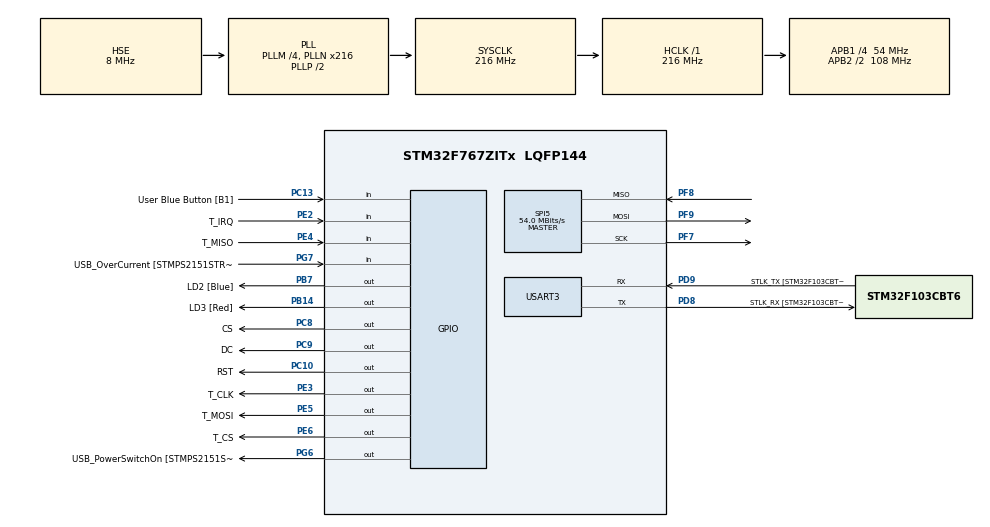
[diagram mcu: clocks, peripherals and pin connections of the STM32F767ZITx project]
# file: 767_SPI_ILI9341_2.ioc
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CORTEX_M7.ART_ACCLERATOR_ENABLE=1
CORTEX_M7.CPU_DCache=Enabled
CORTEX_M7.CPU_ICache=Enabled
CORTEX_M7.PREFETCH_ENABLE=1
Mcu.Family=STM32F7
Mcu.Name=STM32F767ZITx
Mcu.Package=LQFP144
NVIC.PriorityGroup=NVIC_PRIORITYGROUP_2
NVIC.TIM1_UP_TIM10_IRQn=true\:1\:0\:true\:false\:true\:true\:true\:true
NVIC.TIM2_IRQn=true\:2\:0\:true\:false\:true\:true\:true\:true
PA1.GPIO_Label=RMII_REF_CLK [LAN8742A-CZ-TR_REFCLK0]
PA1.Signal=ETH_REF_CLK
PA13.GPIO_Label=TMS
PA13.Mode=Serial_Wire
PA13.Signal=SYS_JTMS-SWDIO
PA14.GPIO_Label=TCK
PA14.Mode=Serial_Wire
PA14.Signal=SYS_JTCK-SWCLK
PA2.GPIO_Label=RMII_MDIO [LAN8742A-CZ-TR_MDIO]
PA2.Signal=ETH_MDIO
PA7.GPIO_Label=RMII_CRS_DV [LAN8742A-CZ-TR_CRS_DV]
PA7.Signal=ETH_CRS_DV
PB13.GPIO_Label=RMII_TXD1 [LAN8742A-CZ-TR_TXD1]
PB13.Signal=ETH_TXD1
PB14.GPIO_Label=LD3 [Red]
PB14.Signal=GPIO_Output
PB3.GPIO_Label=SWO
PB3.Signal=SYS_JTDO-SWO
PB7.GPIO_Label=LD2 [Blue]
PB7.Signal=GPIO_Output
PC1.GPIO_Label=RMII_MDC [LAN8742A-CZ-TR_MDC]
PC1.Signal=ETH_MDC
PC10.GPIO_Label=RST
PC10.GPIO_Speed=GPIO_SPEED_FREQ_VERY_HIGH
PC10.Signal=GPIO_Output
PC13.GPIO_Label=User Blue Button [B1]
PC13.Signal=GPIO_Input
PC14/OSC32_IN.Mode=LSE-External-Oscillator
PC14/OSC32_IN.Signal=RCC_OSC32_IN
PC15/OSC32_OUT.Mode=LSE-External-Oscillator
PC15/OSC32_OUT.Signal=RCC_OSC32_OUT
PC4.GPIO_Label=RMII_RXD0 [LAN8742A-CZ-TR_RXD0]
PC4.Signal=ETH_RXD0
PC5.GPIO_Label=RMII_RXD1 [LAN8742A-CZ-TR_RXD1]
PC5.Signal=ETH_RXD1
PC8.GPIO_Label=CS
PC8.GPIO_Speed=GPIO_SPEED_FREQ_VERY_HIGH
PC8.Signal=GPIO_Output
PC9.GPIO_Label=DC
PC9.GPIO_Speed=GPIO_SPEED_FREQ_VERY_HIGH
PC9.Signal=GPIO_Output
PD8.GPIO_Label=STLK_RX [STM32F103CBT6_PA3]
PD8.Mode=Asynchronous
PD8.Signal=USART3_TX
PD9.GPIO_Label=STLK_TX [STM32F103CBT6_PA2]
PD9.Mode=Asynchronous
PD9.Signal=USART3_RX
PE2.GPIO_Label=T_IRQ
PE2.Signal=GPIO_Input
PE3.GPIO_Label=T_CLK
PE3.GPIO_Speed=GPIO_SPEED_FREQ_VERY_HIGH
PE3.Signal=GPIO_Output
PE4.GPIO_Label=T_MISO
PE4.Signal=GPIO_Input
PE5.GPIO_Label=T_MOSI
PE5.GPIO_Speed=GPIO_SPEED_FREQ_VERY_HIGH
PE5.Signal=GPIO_Output
PE6.GPIO_Label=T_CS
PE6.GPIO_Speed=GPIO_SPEED_FREQ_VERY_HIGH
PE6.Signal=GPIO_Output
PF7.Mode=Full_Duplex_Master
PF7.Signal=SPI5_SCK
PF8.Mode=Full_Duplex_Master
PF8.Signal=SPI5_MISO
PF9.Mode=Full_Duplex_Master
PF9.Signal=SPI5_MOSI
PG11.GPIO_Label=RMII_TX_EN [LAN8742A-CZ-TR_TXEN]
PG11.Signal=ETH_TX_EN
PG13.GPIO_Label=RMII_TXD0 [LAN8742A-CZ-TR_TXD0]
PG13.Signal=ETH_TXD0
PG6.GPIO_Label=USB_PowerSwitchOn [STMPS2151STR_EN]
PG6.Signal=GPIO_Output
PG7.GPIO_Label=USB_OverCurrent [STMPS2151STR_FAULT]
PG7.Signal=GPIO_Input
PH0/OSC_IN.GPIO_Label=MCO [STM32F103CBT6_PA8]
PH0/OSC_IN.Mode=HSE-External-Clock-Source
PH0/OSC_IN.Signal=RCC_OSC_IN
PH1/OSC_OUT.Mode=HSE-External-Clock-Source
PH1/OSC_OUT.Signal=RCC_OSC_OUT
ProjectManager.HeapSize=0x200
ProjectManager.StackSize=0x400
ProjectManager.TargetToolchain=STM32CubeIDE
RCC.48MHZClocksFreq_Value=24000000
RCC.AHBFreq_Value=216000000
RCC.APB1CLKDivider=RCC_HCLK_DIV4
RCC.APB1Freq_Value=54000000
RCC.APB1TimFreq_Value=108000000
RCC.APB2CLKDivider=RCC_HCLK_DIV2
RCC.APB2Freq_Value=108000000
RCC.APB2TimFreq_Value=216000000
RCC.CortexFreq_Value=216000000
RCC.HCLKFreq_Value=216000000
RCC.HSE_VALUE=8000000
RCC.HSI_VALUE=16000000
RCC.PLLM=4
RCC.PLLMUL=RCC_PLL_MUL9
RCC.PLLN=216
RCC.PLLQ=9
RCC.PLLSourceVirtual=RCC_PLLSOURCE_HSE
RCC.PRESCALERUSB=RCC_USBCLKSOURCE_PLL_DIV1_5
RCC.SYSCLKFreq_VALUE=216000000
RCC.SYSCLKSource=RCC_SYSCLKSOURCE_PLLCLK
RCC.SYSCLKSourceVirtual=RCC_SYSCLKSOURCE_PLLCLK
RCC.USBFreq_Value=48000000
RCC.VCOOutputFreq_Value=432000000
SPI5.CalculateBaudRate=54.0 MBits/s
SPI5.DataSize=SPI_DATASIZE_8BIT
SPI5.Direction=SPI_DIRECTION_2LINES
SPI5.Mode=SPI_MODE_MASTER
SPI5.NSSPMode=SPI_NSS_PULSE_DISABLE
SPI5.VirtualType=VM_MASTER
TIM1.ClockDivision=TIM_CLOCKDIVISION_DIV1
TIM1.Period=1080-1
TIM1.Prescaler=16-1
TIM2.ClockDivision=TIM_CLOCKDIVISION_DIV4
TIM2.Period=1250000000-1
TIM2.Prescaler=216-1
USART3.VirtualMode-Asynchronous=VM_ASYNC
VP_RNG_VS_RNG.Mode=RNG_Activate
VP_TIM1_VS_ClockSourceINT.Mode=Internal
VP_TIM2_VS_ClockSourceINT.Mode=Internal
board=NUCLEO-F767ZI

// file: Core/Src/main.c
/* USER CODE BEGIN Header */
/**
  ******************************************************************************
  * @file           : main.c
  * @brief          : Main program body
  ******************************************************************************
  * @attention
  *
  * <h2><center>&copy; Copyright (c) 2021 STMicroelectronics.
  * All rights reserved.</center></h2>
  *
  * This software component is licensed by ST under BSD 3-Clause license,
  * the "License"; You may not use this file except in compliance with the
  * License. You may obtain a copy of the License at:
  *                        opensource.org/licenses/BSD-3-Clause
  *
  ******************************************************************************
  */
/* USER CODE END Header */
#include "main.h"
#include "rng.h"
#include "spi.h"
#include "tim.h"
#include "usart.h"
#include "gpio.h"

/* USER CODE BEGIN Includes */
#include "stdio.h"
#include "string.h"

#include "ILI9341_Touchscreen.h"

#include "ILI9341_STM32_Driver.h"
#include "ILI9341_GFX.h"

//#include "snow_tiger.h"

#include "tot_resize.h"
/* USER CODE END Includes */

/* USER CODE BEGIN PV */
/* Private variables ---------------------------------------------------------*/
uint8_t redVal = 0;
uint8_t greenVal = 0;
uint8_t blueVal = 0;
uint8_t redDecimal = 0;
uint8_t blueDecimal = 0;
uint8_t greenDecimal = 0;
uint8_t someVal = 0;
uint16_t h = 0;
char someValToString[50] = "";
char redPercent[50] = "";
char greenPercent[50] = "";
char bluePercent[50] = "";
uint16_t result = 0;
char resultHex[100]  = "";
uint8_t toSecondPage = 0;

/* USER CODE END PV */

void SystemClock_Config(void);
/* USER CODE BEGIN PFP */
/* Private function prototypes -----------------------------------------------*/

/* USER CODE END PFP */

/* USER CODE BEGIN 0 */
//void displayHEX(uint32_t myNumber){
//	sprintf(toHex,"0x%08X",myNumber);
//};

uint16_t rgb888_to_rgb565(uint8_t red8, uint8_t green8, uint8_t blue8) {
    // Convert 8-bit red to 5-bit red.
    uint8_t red5 = (uint8_t)((red8 / 255.0) * 31);
    // Convert 8-bit green to 6-bit green.
    uint8_t green6 = (uint8_t)((green8 / 255.0) * 63);
    // Convert 8-bit blue to 5-bit blue.
    uint8_t blue5 = (uint8_t)((blue8 / 255.0) * 31);

    // Shift the red value to the left by 11 bits.
    uint16_t red5_shifted = (uint16_t)(red5) << 11;
    // Shift the green value to the left by 5 bits.
    uint16_t green6_shifted = (uint16_t)(green6) << 5;

    // Combine the red, green, and blue values.
    uint16_t rgb565 = red5_shifted | green6_shifted | blue5;

    return rgb565;
}
/* USER CODE END 0 */

int main(void)
{

  /* Enable I-Cache---------------------------------------------------------*/
  SCB_EnableICache();

  /* Enable D-Cache---------------------------------------------------------*/
  SCB_EnableDCache();

  /* MCU Configuration--------------------------------------------------------*/

  /* Reset of all peripherals, Initializes the Flash interface and the Systick. */
  HAL_Init();

  /* Configure the system clock */
  SystemClock_Config();

  /* Initialize all configured peripherals */
  MX_GPIO_Init();
  MX_USART3_UART_Init();
  MX_SPI5_Init();
  MX_TIM1_Init();
  MX_RNG_Init();
  MX_TIM2_Init();
  /* USER CODE BEGIN 2 */
  ILI9341_Init();//initial driver setup to drive ili9341
  HAL_TIM_Base_Start_IT(&htim1);
  HAL_TIM_Base_Start_IT(&htim2);
  /* USER CODE END 2 */

  /* Infinite loop */
  while (1)
  {

    /* USER CODE BEGIN 3 */

	  //----------------------------------------------------------PERFORMANCE TEST
	  		ILI9341_Fill_Screen(WHITE);
	  		ILI9341_Set_Rotation(SCREEN_HORIZONTAL_1); //�?ลับข้อความ
	  		ILI9341_Draw_Text("27.1C", 30, 30, BLACK, 2, WHITE);
	  		ILI9341_Draw_Text("55.6%RH", 180, 30, BLACK, 2, WHITE);
	  		ILI9341_Draw_Filled_Circle(160, 30,15, h);// x , y , r ,color
	  		/////////////////////////////////////////////////////////////////////////

	  		ILI9341_Draw_Filled_Circle(30, 80,15, 0XF800);
	  		ILI9341_Draw_Rectangle(50, 70, 100,20, 0XF81F);//x , y , lx, ly ,color

	  		//ILI9341_Draw_Rectangle(50, 70, 20,20, 0X07E0);
	  		if (redVal <= 10)
	  		{
	  			ILI9341_Draw_Rectangle(50, 70, redVal*10,20, 0XF800);//x , y , lx, ly ,color
	  			sprintf(redPercent,"%d%%",redVal*10);
	  			ILI9341_Draw_Text(redPercent, 180, 70, BLACK, 2, WHITE);

//	  			redVal+=1;
//	  			redDecimal+=25;

//	  			if(redVal == 10){
//	  				redVal = 0;
//	  				redDecimal=0;
//	  			}
	  		}
	  		////////////////////////////////////green///////////////////////////////////
	  		ILI9341_Draw_Filled_Circle(30, 130,15, 0X07E0);
			ILI9341_Draw_Rectangle(50, 120, 100,20, 0XC618);//x , y , lx, ly ,color
			if (greenVal <= 10)
			{
				ILI9341_Draw_Rectangle(50, 120, greenVal*10,20, 0X07E0);//x , y , lx, ly ,color
				sprintf(greenPercent,"%d%%",greenVal*10);
				ILI9341_Draw_Text(greenPercent, 180, 120, BLACK, 2, WHITE);

//				greenVal+=1;
//				greenDecimal+=25;

//				if(greenVal == 11){
//					greenVal = 0;
//					greenDecimal = 0;
//				}
			}
			////////////////////////////////////blue///////////////////////////////////
			ILI9341_Draw_Filled_Circle(30, 180,15, 0X001F);
			ILI9341_Draw_Rectangle(50, 170, 100,20, 0X07FF);//x , y , lx, ly ,color
			if (blueVal <= 10)
			{
				ILI9341_Draw_Rectangle(50, 170, blueVal*10,20, 0X001F);//x , y , lx, ly ,color
				sprintf(bluePercent,"%d%%",blueVal*10);
				ILI9341_Draw_Text(bluePercent, 180, 170, BLACK, 2, WHITE);
				sprintf(someValToString,"%d",blueDecimal);
				//ILI9341_Draw_Text(someValToString, 180, 210, BLACK, 2, WHITE);
//				blueVal+=1;
//				blueDecimal+=25;
//				if(blueVal == 11){
//					blueVal = 0;
//					blueDecimal =0;
//				}
			}

			result = rgb888_to_rgb565(redDecimal,greenDecimal, blueDecimal);
			sprintf(resultHex,"0X%04X", result);
			ILI9341_Draw_Text(resultHex, 180, 210, BLACK, 2, WHITE);

			sscanf(resultHex, "%x", &h);

//	  		ILI9341_Fill_Screen(WHITE);
	  			  		ILI9341_Set_Rotation(SCREEN_HORIZONTAL_1);
//	  			  		ILI9341_Draw_Text("Touchscreen", 10, 10, BLACK, 2, WHITE);
//	  			  		ILI9341_Draw_Text("Touch to draw", 10, 30, BLACK, 2, WHITE);
	  			  		ILI9341_Set_Rotation(SCREEN_VERTICAL_1);

//	  			  		while(1)
//	  			  		{

	  			  			if(TP_Touchpad_Pressed())
	  			          {

	  			  					uint16_t x_pos = 0;
	  			  					uint16_t y_pos = 0;

	  			  					HAL_GPIO_WritePin(GPIOB, LD3_Pin|LD2_Pin, GPIO_PIN_SET);

	  			            uint16_t position_array[2];

	  			  					if(TP_Read_Coordinates(position_array) == TOUCHPAD_DATA_OK)
	  			  					{
	  			  					x_pos = position_array[0];
	  			  					y_pos = position_array[1];
	  			  					if((x_pos >= 146 && x_pos <=170) && (y_pos >=6 && y_pos <=34))//RedCheck
	  			  					{
	  			  						ILI9341_Draw_Text("r", 180, 210, BLACK, 2, WHITE);
	  			  						redVal += 1;
	  			  						redDecimal+=25;
	  			  						if(redVal == 11){
	  			  						  	redVal = 0;
	  			  						  	redDecimal=0;
	  			  						 }
	  			  					}
	  			  					else if((x_pos >= 90 && x_pos <=119) && (y_pos >=9 && y_pos <=60))//GreenCheck
	  			  					{
	  			  						ILI9341_Draw_Text("g", 180, 210, BLACK, 2, WHITE);
	  			  						greenVal += 1;
	  			  						greenDecimal+=25;
	  			  						if(greenVal == 11){
											greenVal = 0;
											greenDecimal = 0;
										}
	  			  					}
	  			  					else if((x_pos >= 44 && x_pos <=69) && (y_pos >=9 && y_pos <=42))//GreenCheck
	  			  					{
	  			  						ILI9341_Draw_Text("b", 180, 210, BLACK, 2, WHITE);
	  			  						blueVal += 1;
	  			  						blueDecimal+=25;
	  			  						if(blueVal == 11){
											blueVal = 0;
											blueDecimal =0;
										}
	  			  					}
	  			  					else if((x_pos >= 200 && x_pos <=231) && (y_pos >=145 && y_pos <=176))//Center Top
	  			  					{
	  			  						ILI9341_Draw_Text("c", 180, 210, BLACK, 2, WHITE);
	  			  						toSecondPage = 1;
	  			  					}
	  			  					ILI9341_Draw_Filled_Circle(x_pos, y_pos, 2, BLACK);

	  			  					ILI9341_Set_Rotation(SCREEN_HORIZONTAL_1);
//	  			  					char counter_buff[30];
//	  			  					sprintf(counter_buff, "POS X: %.3d", x_pos);
//	  			  					ILI9341_Draw_Text(counter_buff, 10, 80, BLACK, 2, WHITE);
//	  			  					sprintf(counter_buff, "POS Y: %.3d", y_pos);
//	  			  					ILI9341_Draw_Text(counter_buff, 10, 120, BLACK, 2, WHITE);
	  			  					ILI9341_Set_Rotation(SCREEN_VERTICAL_1);
	  			  					}

//	  			  					ILI9341_Draw_Pixel(x_pos, y_pos, BLACK);

	  			          }
	  			  			else
	  			  			{
	  			  				HAL_GPIO_WritePin(GPIOB, LD3_Pin|LD2_Pin, GPIO_PIN_RESET);
	  			  			}

//	  			  		}

//	  		ILI9341_Fill_Screen(WHITE);
	  			  		while(toSecondPage){
//	  			  			ILI9341_Fill_Screen(WHITE);
							ILI9341_Draw_Image((const char*)image_data_tot, SCREEN_VERTICAL_1);
							ILI9341_Set_Rotation(SCREEN_HORIZONTAL_1);
							ILI9341_Draw_Text("Group No.11", 135, 40, h, 2, WHITE);
							ILI9341_Draw_Text("Sittha", 135, 80, h, 2, WHITE);
							ILI9341_Draw_Text("Onsaard", 135, 120, h, 2, WHITE);
							ILI9341_Draw_Text("64010889", 135, 160, h, 2, WHITE);
							ILI9341_Set_Rotation(SCREEN_HORIZONTAL_1);
							if(TP_Touchpad_Pressed())
						  {

									uint16_t x_pos = 0;
									uint16_t y_pos = 0;

									HAL_GPIO_WritePin(GPIOB, LD3_Pin|LD2_Pin, GPIO_PIN_SET);

							uint16_t position_array[2];
									if(TP_Read_Coordinates(position_array) == TOUCHPAD_DATA_OK)
									{
									x_pos = position_array[0];
									y_pos = position_array[1];
									if((x_pos >= 83 && x_pos <=178) && (y_pos >=8 && y_pos <=99))//IMG check
									{
										toSecondPage = 0;
									}
									else
									{
										//still 5 s
//										HAL_Delay(5000);
//										toSecondPage = 0;
									}
									}
									}
	  			  		}

	  		HAL_Delay(20);

  }
  /* USER CODE END 3 */
}

void SystemClock_Config(void)
{
  RCC_OscInitTypeDef RCC_OscInitStruct = {0};
  RCC_ClkInitTypeDef RCC_ClkInitStruct = {0};

  /** Configure LSE Drive Capability
  */
  HAL_PWR_EnableBkUpAccess();

  /** Configure the main internal regulator output voltage
  */
  __HAL_RCC_PWR_CLK_ENABLE();
  __HAL_PWR_VOLTAGESCALING_CONFIG(PWR_REGULATOR_VOLTAGE_SCALE1);

  /** Initializes the RCC Oscillators according to the specified parameters
  * in the RCC_OscInitTypeDef structure.
  */
  RCC_OscInitStruct.OscillatorType = RCC_OSCILLATORTYPE_HSE;
  RCC_OscInitStruct.HSEState = RCC_HSE_BYPASS;
  RCC_OscInitStruct.PLL.PLLState = RCC_PLL_ON;
  RCC_OscInitStruct.PLL.PLLSource = RCC_PLLSOURCE_HSE;
  RCC_OscInitStruct.PLL.PLLM = 4;
  RCC_OscInitStruct.PLL.PLLN = 216;
  RCC_OscInitStruct.PLL.PLLP = RCC_PLLP_DIV2;
  RCC_OscInitStruct.PLL.PLLQ = 9;
  RCC_OscInitStruct.PLL.PLLR = 2;
  if (HAL_RCC_OscConfig(&RCC_OscInitStruct) != HAL_OK)
  {
    Error_Handler();
  }

  /** Activate the Over-Drive mode
  */
  if (HAL_PWREx_EnableOverDrive() != HAL_OK)
  {
    Error_Handler();
  }

  /** Initializes the CPU, AHB and APB buses clocks
  */
  RCC_ClkInitStruct.ClockType = RCC_CLOCKTYPE_HCLK|RCC_CLOCKTYPE_SYSCLK
                              |RCC_CLOCKTYPE_PCLK1|RCC_CLOCKTYPE_PCLK2;
  RCC_ClkInitStruct.SYSCLKSource = RCC_SYSCLKSOURCE_PLLCLK;
  RCC_ClkInitStruct.AHBCLKDivider = RCC_SYSCLK_DIV1;
  RCC_ClkInitStruct.APB1CLKDivider = RCC_HCLK_DIV4;
  RCC_ClkInitStruct.APB2CLKDivider = RCC_HCLK_DIV2;

  if (HAL_RCC_ClockConfig(&RCC_ClkInitStruct, FLASH_LATENCY_7) != HAL_OK)
  {
    Error_Handler();
  }
}

void Error_Handler(void)
{
  while(1)
  {
  }
}
